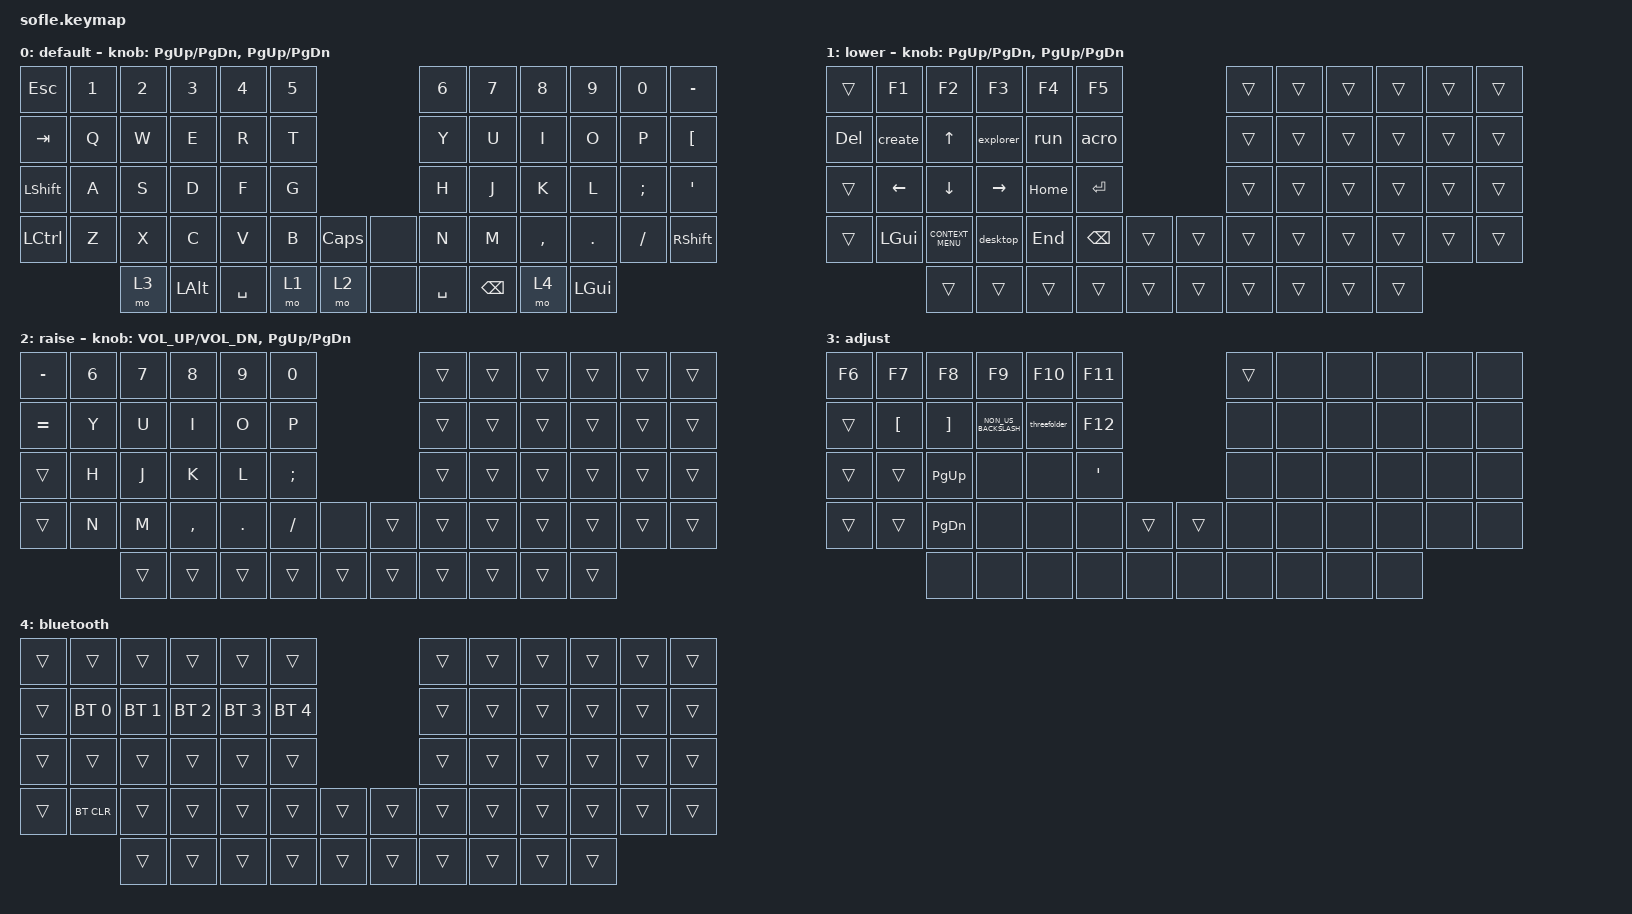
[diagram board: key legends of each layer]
/*
 * Copyright (c) 2020 The ZMK Contributors
 *
 * SPDX-License-Identifier: MIT
 */

#include <behaviors.dtsi>
#include <dt-bindings/zmk/bt.h>
#include <dt-bindings/zmk/keys.h>

#define BASE 0
#define LOWER 1
#define RAISE 2
#define ADJUST 3

/ {
    // Activate ADJUST layer by pressing raise and lower

    conditional_layers { compatible = "zmk,conditional-layers"; };

    macros {
        explorer: explorer {
            compatible = "zmk,behavior-macro";
            #binding-cells = <0>;
            bindings = <&kp LG(E)>;
            label = "EXPLORER";
        };

        run: run {
            compatible = "zmk,behavior-macro";
            #binding-cells = <0>;
            bindings = <&kp LG(R)>;
            label = "RUN";
        };

        acro: acro {
            compatible = "zmk,behavior-macro";
            #binding-cells = <0>;
            bindings = <&kp LEFT_ALT &kp P &kp ENTER &kp ENTER>;
            label = "ACRO";
        };

        desktop: desktop {
            compatible = "zmk,behavior-macro";
            #binding-cells = <0>;
            bindings = <&kp LG(D)>;
            label = "DESKTOP";
        };

        create: create {
            compatible = "zmk,behavior-macro";
            #binding-cells = <0>;
            bindings = <&kp LS(LC(N))>;
            label = "CREATE";
        };

        threefolder: threefolder {
            compatible = "zmk,behavior-macro";
            #binding-cells = <0>;
            bindings = <&kp LC(LS(N)) &kp LS(E) &kp X &kp P &kp O &kp R &kp T &kp ENTER &kp LC(LS(N)) &kp LS(O) &kp R &kp I &kp G &kp I &kp N &kp A &kp L &kp ENTER>;
            label = "THREEFOLDER";
        };

        ASME: ASME {
            compatible = "zmk,behavior-macro";
            #binding-cells = <0>;
            bindings = <&kp LEFT_ALT &kp S &kp M &kp E>;
            label = "ASME";
        };
    };

    combos {
        compatible = "zmk,combos";

        cap {
            bindings = <&kp CAPS>;
            key-positions = <17 41>;
        };
    };

    keymap {
        compatible = "zmk,keymap";

        default_layer {
            label = "default";

            // ------------------------------------------------------------------------------------------------------------
            // |   `   |  1  |  2  |  3   |  4   |  5   |                   |  6   |  7    |  8    |  9   |   0   |       |
            // |  ESC  |  Q  |  W  |  E   |  R   |  T   |                   |  Y   |  U    |  I    |  O   |   P   | BKSPC |
            // |  TAB  |  A  |  S  |  D   |  F   |  G   |                   |  H   |  J    |  K    |  L   |   ;   |   '   |
            // | SHIFT |  Z  |  X  |  C   |  V   |  B   |  MUTE  |  |       |  N   |  M    |  ,    |  .   |   /   | SHIFT |
            //               | GUI | ALT  | CTRL | LOWER|  ENTER |  | SPACE | RAISE| CTRL  | ALT   | GUI  |

            bindings = <
&kp ESC           &kp N1  &kp N2  &kp N3    &kp N4     &kp N5                     &kp N6     &kp N7         &kp N8     &kp N9        &kp N0    &kp MINUS
&kp TAB           &kp Q   &kp W   &kp E     &kp R      &kp T                      &kp Y      &kp U          &kp I      &kp O         &kp P     &kp LEFT_BRACKET
&kp LEFT_SHIFT    &kp A   &kp S   &kp D     &kp F      &kp G                      &kp H      &kp J          &kp K      &kp L         &kp SEMI  &kp SQT
&kp LEFT_CONTROL  &kp Z   &kp X   &kp C     &kp V      &kp B   &kp CLCK    &none  &kp N      &kp M          &kp COMMA  &kp DOT       &kp FSLH  &kp RSHFT
                          &mo 3   &kp LALT  &kp SPACE  &mo 1   &mo 2       &none  &kp SPACE  &kp BACKSPACE  &mo 4      &kp LEFT_GUI
            >;

            sensor-bindings =
                <&inc_dec_kp PAGE_UP PAGE_DOWN>,
                <&inc_dec_kp PAGE_UP PAGE_DOWN>;
        };

        lower_layer {
            label = "lower";

            // TODO: Some binds are waiting for shifted keycode support.
            // ------------------------------------------------------------------------------------------------------------
            // |       |  F1 |  F2 |  F3  |  F4  |  F5  |                   |  F6  |  F7   |  F8   |  F9  |  F10  |  F11  |
            // |   `   |  1  |  2  |  3   |  4   |  5   |                   |  6   |  7    |  8    |  9   |   0   |  F12  |
            // |       |  !  |  @  |  #   |  $   |  %   |                   |  ^   |  &    |  *    |  (   |   )   |   |   |
            // |       |  =  |  -  |  +   |  {   |  }   |        |  |       |  [   |  ]    |  ;    |  :   |   \   |       |
            //               |     |      |      |      |        |  |       |      |       |       |      |

            bindings = <
&trans   &kp F1          &kp F2              &kp F3           &kp F4    &kp F5                           &trans  &trans  &trans  &trans  &trans  &trans
&kp DEL  &create         &kp UP_ARROW        &explorer        &run      &acro                            &trans  &trans  &trans  &trans  &trans  &trans
&trans   &kp LEFT_ARROW  &kp DOWN_ARROW      &kp RIGHT_ARROW  &kp HOME  &kp ENTER                        &trans  &trans  &trans  &trans  &trans  &trans
&trans   &kp LEFT_GUI    &kp K_CONTEXT_MENU  &desktop         &kp END   &kp BACKSPACE  &trans    &trans  &trans  &trans  &trans  &trans  &trans  &trans
                         &trans              &trans           &trans    &trans         &trans    &trans  &trans  &trans  &trans  &trans
            >;

            sensor-bindings =
                <&inc_dec_kp PAGE_UP PAGE_DOWN>,
                <&inc_dec_kp PAGE_UP PAGE_DOWN>;
        };

        raise_layer {
            label = "raise";

            // ------------------------------------------------------------------------------------------------------------
            // | BTCLR | BT1  | BT2  |  BT3  |  BT4  |  BT5 |                |      |      |       |      |       |       |
            // |       | INS  | PSCR | GUI   |       |      |                | PGUP |      |   ^   |      |       |       |
            // |       | ALT  | CTRL | SHIFT |       | CAPS |                | PGDN |   <- |   v   |  ->  |  DEL  | BKSPC |
            // |       | UNDO | CUT  | COPY  | PASTE |      |      |  |      |      |      |       |      |       |       |
            //                |      |       |       |      |      |  |      |      |      |       |      |

            bindings = <
&kp MINUS  &kp NUMBER_6  &kp NUMBER_7  &kp NUMBER_8  &kp NUMBER_9  &kp NUMBER_0                     &trans  &trans  &trans  &trans  &trans  &trans
&kp EQUAL  &kp Y         &kp U         &kp I         &kp O         &kp P                            &trans  &trans  &trans  &trans  &trans  &trans
&trans     &kp H         &kp J         &kp K         &kp L         &kp SEMICOLON                    &trans  &trans  &trans  &trans  &trans  &trans
&trans     &kp N         &kp M         &kp COMMA     &kp PERIOD    &kp SLASH      &none     &trans  &trans  &trans  &trans  &trans  &trans  &trans
                         &trans        &trans        &trans        &trans         &trans    &trans  &trans  &trans  &trans  &trans
            >;

            sensor-bindings = <&inc_dec_kp C_VOL_UP C_VOL_DN &inc_dec_kp PG_UP PG_DN>;
        };

        adjust_layer {
            // ----------------------------------------------------------------------------------------------------------------------------
            // | BTCLR  |  BT1    |  BT2    |   BT3   |   BT4   |   BT5   |                  |      |      |       |      |       |       |
            // | EXTPWR | RGB_HUD | RGB_HUI | RGB_SAD | RGB_SAI | RGB_EFF |                  |      |      |       |      |       |       |
            // |        | RGB_BRD | RGB_BRI |         |         |         |                  |      |      |       |      |       |       |
            // |        |         |         |         |         |         | RGB_TOG | |      |      |      |       |      |       |       |
            //                    |         |         |         |         |         | |      |      |      |       |      |

            label = "adjust";
            bindings = <
&kp F6  &kp F7            &kp F8             &kp F9                &kp F10       &kp F11                    &trans  &none  &none  &none  &none  &none
&trans  &kp LEFT_BRACKET  &kp RIGHT_BRACKET  &kp NON_US_BACKSLASH  &threefolder  &kp F12                    &none   &none  &none  &none  &none  &none
&trans  &trans            &kp PAGE_UP        &none                 &none         &kp SQT                    &none   &none  &none  &none  &none  &none
&trans  &trans            &kp PAGE_DOWN      &none                 &none         &none    &trans    &trans  &none   &none  &none  &none  &none  &none
                          &none              &none                 &none         &none    &none     &none   &none   &none  &none  &none
            >;
        };

        bluetooth {
            bindings = <
&trans  &trans        &trans        &trans        &trans        &trans                          &trans  &trans  &trans  &trans  &trans  &trans
&trans  &bt BT_SEL 0  &bt BT_SEL 1  &bt BT_SEL 2  &bt BT_SEL 3  &bt BT_SEL 4                    &trans  &trans  &trans  &trans  &trans  &trans
&trans  &trans        &trans        &trans        &trans        &trans                          &trans  &trans  &trans  &trans  &trans  &trans
&trans  &bt BT_CLR    &trans        &trans        &trans        &trans        &trans    &trans  &trans  &trans  &trans  &trans  &trans  &trans
                      &trans        &trans        &trans        &trans        &trans    &trans  &trans  &trans  &trans  &trans
            >;
        };
    };
};
